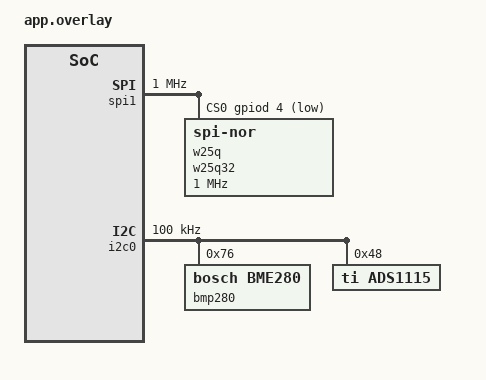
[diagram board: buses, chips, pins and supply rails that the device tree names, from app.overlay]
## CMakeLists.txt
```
cmake_minimum_required(VERSION 3.20.0)

find_package(Zephyr REQUIRED HINTS $ENV{ZEPHYR_BASE})
project(iot_monitor)

target_sources(app PRIVATE
    src/main.c
    src/threads/sensor_thread.c
    src/threads/logger_thread.c
    src/drivers/bmp280.c
    src/drivers/ads1115.c
    src/drivers/w25q.c
    src/drivers/spi_kinetis.c
    src/app/data_logger.c
)

target_include_directories(app PRIVATE
    src/drivers
    src/app
    src/threads
)

# Agregar directorio de bindings custom al DTS
list(APPEND DTS_ROOT ${CMAKE_CURRENT_SOURCE_DIR})
```

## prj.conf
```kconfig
# Sistema base
CONFIG_PRINTK=y
CONFIG_UART_CONSOLE=y
CONFIG_CBPRINTF_FP_SUPPORT=y


CONFIG_PINCTRL=y
# Esto le dice a Zephyr que habilite la administración de energía y reloj de los periféricos de NXP
CONFIG_CLOCK_CONTROL=y

# Logging
CONFIG_LOG=y
CONFIG_LOG_DEFAULT_LEVEL=3

# I2C
CONFIG_I2C=y
CONFIG_I2C_MCUX=y

# SPI
#CONFIG_SPI=y

# GPIO
CONFIG_GPIO=y

# Threads y RTOS
CONFIG_MAIN_STACK_SIZE=2048
CONFIG_HEAP_MEM_POOL_SIZE=8192

# Math library para sqrtf()
CONFIG_FPU=y
CONFIG_FPU_SHARING=y
CONFIG_NEWLIB_LIBC=y
CONFIG_NEWLIB_LIBC_FLOAT_PRINTF=y

# Tamaño de stacks de threads
CONFIG_SYSTEM_WORKQUEUE_STACK_SIZE=2048
```

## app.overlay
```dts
/*
 * IoT Monitor - Device Tree overlay
 * I2C0: PTB2(SCL) PTB3(SDA)
 * SPI1: PTD5(SCK) PTB16(MOSI) PTB17(MISO) PTD4(CS-GPIO)
 */

#include <nxp/kinetis/K32L2B31VLH0A-pinctrl.h>

&pinctrl {
    i2c0_custom: i2c0_custom {
        group0 {
            /* 1 = PORTB, 2 = PIN2, ALT2 para I2C */
            /* 1 = PORTB, 3 = PIN3, ALT2 para I2C */
            pinmux = <I2C0_SCL_PTB2>,
                     <I2C0_SDA_PTB3>;
            drive-open-drain;
             bias-pull-up;
	    /* Agregamos la propiedad obligatoria que pide el compilador */
            drive-strength = "low";
	    /* Agregamos el parámetro que el driver de NXP necesita obligatoriamente */
            slew-rate = "fast";
        };
    };
};

&i2c0 {
    status = "okay";
    /* 2. Forzamos a I2C0 a usar los pines que acabamos de definir arriba */
    pinctrl-0 = <&i2c0_custom>;
    pinctrl-names = "default";
    clock-frequency = <I2C_BITRATE_STANDARD>;

    bmp280: bmp280@76 {
        compatible = "bosch,bme280";
        reg = <0x76>;
        status = "okay";
    };

    ads1115: ads1115@48 {
        compatible = "ti,ads1115";
        reg = <0x48>;
        status = "okay";
        #io-channel-cells = <1>;
    };
};

/ {
    spi1: spi@40077000 {
        compatible = "nxp,kinetis-spi";
        reg = <0x40077000 0x0C>;
        #address-cells = <1>;
        #size-cells = <0>;
        clock-frequency = <1000000>;
        status = "okay";
        cs-gpios = <&gpiod 4 GPIO_ACTIVE_LOW>;

        w25q: w25q32@0 {
            compatible = "jedec,spi-nor";
            reg = <0>;
            spi-max-frequency = <1000000>;
            jedec-id = [20 40 16];
            size = <33554432>;
            status = "okay";
        };
    };
};
```

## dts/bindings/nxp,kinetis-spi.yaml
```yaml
description: NXP Kinetis SPI controller (bare-metal driver)

compatible: "nxp,kinetis-spi"

include: [spi-controller.yaml]

properties:
  reg:
    required: true
  clocks:
    required: false
  clock-frequency:
    type: int
    default: 1000000
    description: SPI bus clock frequency in Hz
```

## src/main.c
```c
#include <zephyr/kernel.h>
#include <zephyr/logging/log.h>
#include <zephyr/version.h>

LOG_MODULE_REGISTER(main, LOG_LEVEL_INF);

#include <fsl_port.h> // Cabecera nativa de NXP para control de pines

void forzar_configuracion_pines_nxp(void) {
    printk("Forzando multiplexación de pines PTB2 y PTB3 a ALT2 (I2C0)...\n");

    /* 1. Aseguramos que el reloj del Puerto B esté encendido en el SIM */
    SIM->SCGC5 |= SIM_SCGC5_PORTB_MASK;

    /* 2. Configuramos las propiedades del pin exactamente como lo hace MCUXpresso */
    port_pin_config_t i2c_pin_config = {
        .pullSelect = kPORT_PullUp,             // Pull-up interno activo por si acaso
        .slewRate = kPORT_FastSlewRate,         // Transición rápida
        .passiveFilterEnable = kPORT_PassiveFilterDisable,
        .driveStrength = kPORT_LowDriveStrength,
        .mux = kPORT_MuxAlt2                    // ¡CRUCIAL!: Forzar Modo Alterno 2 (I2C0)
    };

    /* 3. Aplicamos la configuración directamente a los registros del silicio */
    PORT_SetPinConfig(PORTB, 2U, &i2c_pin_config); // PTB2 -> SCL
    PORT_SetPinConfig(PORTB, 3U, &i2c_pin_config); // PTB3 -> SDA

    /* 4. Reseteamos el estado interno del módulo I2C0 por si quedó congelado */
    I2C0->C1 &= ~I2C_C1_IICEN_MASK;
    I2C0->S |= I2C_S_IICIF_MASK | I2C_S_ARBL_MASK;
    I2C0->C1 |= I2C_C1_IICEN_MASK;

    printk("Pines y registros reconfigurados a bajo nivel.\n");
}

/* Declaraciones de threads definidos en otros archivos */
extern void sensor_thread_fn(void *a, void *b, void *c);
extern void logger_thread_fn(void *a, void *b, void *c);

/* Definición de threads */
K_THREAD_DEFINE(sensor_tid, 2048, sensor_thread_fn, NULL, NULL, NULL, 5, 0, 0);
K_THREAD_DEFINE(logger_tid, 2048, logger_thread_fn, NULL, NULL, NULL, 6, 0, 0);

/* Message queue — sensor_thread produce, logger_thread consume */
/* 10 mensajes máximo, alineado a 4 bytes */

int main(void)
{
    LOG_INF("=== IoT Monitor - Fase 2 (Zephyr) ===");
    LOG_INF("Zephyr version: %s", KERNEL_VERSION_STRING);

    /* Los threads arrancan automáticamente — main solo supervisa */
    while (1) {
        k_msleep(10000);  /* main duerme, los threads hacen el trabajo */
    }

    return 0;
}
```
